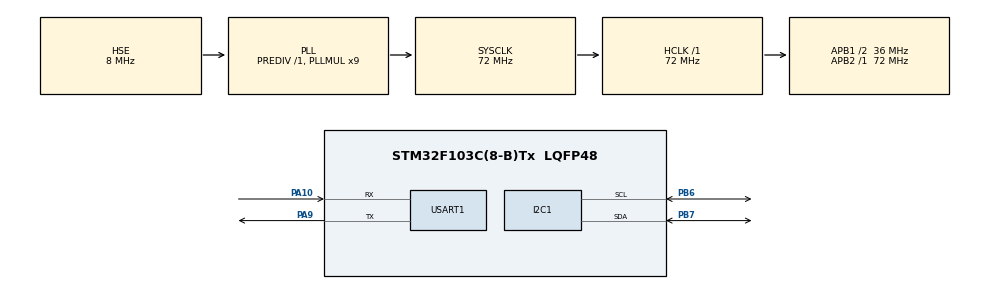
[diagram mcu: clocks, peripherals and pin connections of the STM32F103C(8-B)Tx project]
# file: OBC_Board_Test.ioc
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Mcu.Family=STM32F1
Mcu.Name=STM32F103C(8-B)Tx
Mcu.Package=LQFP48
NVIC.PriorityGroup=NVIC_PRIORITYGROUP_4
PA10.Mode=Asynchronous
PA10.Signal=USART1_RX
PA13.Mode=Serial_Wire
PA13.Signal=SYS_JTMS-SWDIO
PA14.Mode=Serial_Wire
PA14.Signal=SYS_JTCK-SWCLK
PA9.Mode=Asynchronous
PA9.Signal=USART1_TX
PB6.Mode=I2C
PB6.Signal=I2C1_SCL
PB7.Mode=I2C
PB7.Signal=I2C1_SDA
PD0-OSC_IN.Mode=HSE-External-Oscillator
PD0-OSC_IN.Signal=RCC_OSC_IN
PD1-OSC_OUT.Mode=HSE-External-Oscillator
PD1-OSC_OUT.Signal=RCC_OSC_OUT
ProjectManager.HeapSize=0x200
ProjectManager.StackSize=0x400
ProjectManager.TargetToolchain=STM32CubeIDE
RCC.AHBFreq_Value=72000000
RCC.APB1CLKDivider=RCC_HCLK_DIV2
RCC.APB1Freq_Value=36000000
RCC.APB1TimFreq_Value=72000000
RCC.APB2Freq_Value=72000000
RCC.APB2TimFreq_Value=72000000
RCC.HCLKFreq_Value=72000000
RCC.PLLMUL=RCC_PLL_MUL9
RCC.PLLSourceVirtual=RCC_PLLSOURCE_HSE
RCC.SYSCLKFreq_VALUE=72000000
RCC.SYSCLKSource=RCC_SYSCLKSOURCE_PLLCLK
RCC.USBFreq_Value=72000000
USART1.VirtualMode=VM_ASYNC
board=custom

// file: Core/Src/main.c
/* USER CODE BEGIN Header */
/**
  ******************************************************************************
  * @file           : main.c
  * @brief          : Main program body
  ******************************************************************************
  * @attention
  *
  * Copyright (c) 2022 STMicroelectronics.
  * All rights reserved.
  *
  * This software is licensed under terms that can be found in the LICENSE file
  * in the root directory of this software component.
  * If no LICENSE file comes with this software, it is provided AS-IS.
  *
  ******************************************************************************
  */
/* USER CODE END Header */
#include "main.h"
#include "string.h"

I2C_HandleTypeDef hi2c1;

UART_HandleTypeDef huart1;

/* USER CODE BEGIN PV */
uint8_t obcAddress = 87;
uint8_t ttcAddress = 90;
uint8_t epsAddress = 93;
uint8_t adsbAddress = 95;
uint8_t loraAddress = 97;
/* USER CODE END PV */

void SystemClock_Config(void);
static void MX_GPIO_Init(void);
static void MX_I2C1_Init(void);
static void MX_USART1_UART_Init(void);

/* USER CODE BEGIN 0 */
uint8_t sendBufferLoRa[10] = {1, 2, 3, 4, 5, 6, 7, 8, 9, 10};
uint8_t sendBufferEps[10] = {9, 8 ,7,6,5,4,3,2,1,0};
//uint8_t lenSendBuffer = sizeof(sendBuffer);

void send_uart(char *string){
	uint8_t len = strlen(string);
	HAL_UART_Transmit(&huart1, (uint8_t*)string, len, 2000);
}
/* USER CODE END 0 */

int main(void)
{

  /* MCU Configuration--------------------------------------------------------*/

  /* Reset of all peripherals, Initializes the Flash interface and the Systick. */
  HAL_Init();

  /* Configure the system clock */
  SystemClock_Config();

  /* Initialize all configured peripherals */
  MX_GPIO_Init();
  MX_I2C1_Init();
  MX_USART1_UART_Init();
  /* USER CODE BEGIN 2 */
  send_uart("Sending Data via I2C...\r\n");

  if(HAL_I2C_Master_Transmit(&hi2c1, loraAddress, sendBufferLoRa, 10, 30000) == HAL_OK){
	  send_uart("Data sent successfully!!\r\n");
  }else{
	  send_uart("Data sent Failed!!\r\n");
  }

  if(HAL_I2C_Master_Transmit(&hi2c1, epsAddress, sendBufferEps, 10, 30000) == HAL_OK){
  	  send_uart("Data sent successfully!!\r\n");
    }else{
  	  send_uart("Data sent Failed!!\r\n");
    }

  send_uart("------------------\r\n\n");
  /* USER CODE END 2 */

  /* Infinite loop */
  while (1)
  {

    /* USER CODE BEGIN 3 */
//	send_uart("Hello World Test\r\n");
  }
  /* USER CODE END 3 */
}

void SystemClock_Config(void)
{
  RCC_OscInitTypeDef RCC_OscInitStruct = {0};
  RCC_ClkInitTypeDef RCC_ClkInitStruct = {0};

  /** Initializes the RCC Oscillators according to the specified parameters
  * in the RCC_OscInitTypeDef structure.
  */
  RCC_OscInitStruct.OscillatorType = RCC_OSCILLATORTYPE_HSE;
  RCC_OscInitStruct.HSEState = RCC_HSE_ON;
  RCC_OscInitStruct.HSEPredivValue = RCC_HSE_PREDIV_DIV1;
  RCC_OscInitStruct.HSIState = RCC_HSI_ON;
  RCC_OscInitStruct.PLL.PLLState = RCC_PLL_ON;
  RCC_OscInitStruct.PLL.PLLSource = RCC_PLLSOURCE_HSE;
  RCC_OscInitStruct.PLL.PLLMUL = RCC_PLL_MUL9;
  if (HAL_RCC_OscConfig(&RCC_OscInitStruct) != HAL_OK)
  {
    Error_Handler();
  }

  /** Initializes the CPU, AHB and APB buses clocks
  */
  RCC_ClkInitStruct.ClockType = RCC_CLOCKTYPE_HCLK|RCC_CLOCKTYPE_SYSCLK
                              |RCC_CLOCKTYPE_PCLK1|RCC_CLOCKTYPE_PCLK2;
  RCC_ClkInitStruct.SYSCLKSource = RCC_SYSCLKSOURCE_PLLCLK;
  RCC_ClkInitStruct.AHBCLKDivider = RCC_SYSCLK_DIV1;
  RCC_ClkInitStruct.APB1CLKDivider = RCC_HCLK_DIV2;
  RCC_ClkInitStruct.APB2CLKDivider = RCC_HCLK_DIV1;

  if (HAL_RCC_ClockConfig(&RCC_ClkInitStruct, FLASH_LATENCY_2) != HAL_OK)
  {
    Error_Handler();
  }
}

static void MX_I2C1_Init(void)
{

  hi2c1.Instance = I2C1;
  hi2c1.Init.ClockSpeed = 100000;
  hi2c1.Init.DutyCycle = I2C_DUTYCYCLE_2;
  hi2c1.Init.OwnAddress1 = 87;
  hi2c1.Init.AddressingMode = I2C_ADDRESSINGMODE_7BIT;
  hi2c1.Init.DualAddressMode = I2C_DUALADDRESS_DISABLE;
  hi2c1.Init.OwnAddress2 = 0;
  hi2c1.Init.GeneralCallMode = I2C_GENERALCALL_DISABLE;
  hi2c1.Init.NoStretchMode = I2C_NOSTRETCH_DISABLE;
  if (HAL_I2C_Init(&hi2c1) != HAL_OK)
  {
    Error_Handler();
  }

}

static void MX_USART1_UART_Init(void)
{

  huart1.Instance = USART1;
  huart1.Init.BaudRate = 115200;
  huart1.Init.WordLength = UART_WORDLENGTH_8B;
  huart1.Init.StopBits = UART_STOPBITS_1;
  huart1.Init.Parity = UART_PARITY_NONE;
  huart1.Init.Mode = UART_MODE_TX_RX;
  huart1.Init.HwFlowCtl = UART_HWCONTROL_NONE;
  huart1.Init.OverSampling = UART_OVERSAMPLING_16;
  if (HAL_UART_Init(&huart1) != HAL_OK)
  {
    Error_Handler();
  }

}

static void MX_GPIO_Init(void)
{

  /* GPIO Ports Clock Enable */
  __HAL_RCC_GPIOD_CLK_ENABLE();
  __HAL_RCC_GPIOA_CLK_ENABLE();
  __HAL_RCC_GPIOB_CLK_ENABLE();

}

void Error_Handler(void)
{
  __disable_irq();
  while (1)
  {
  }
}
